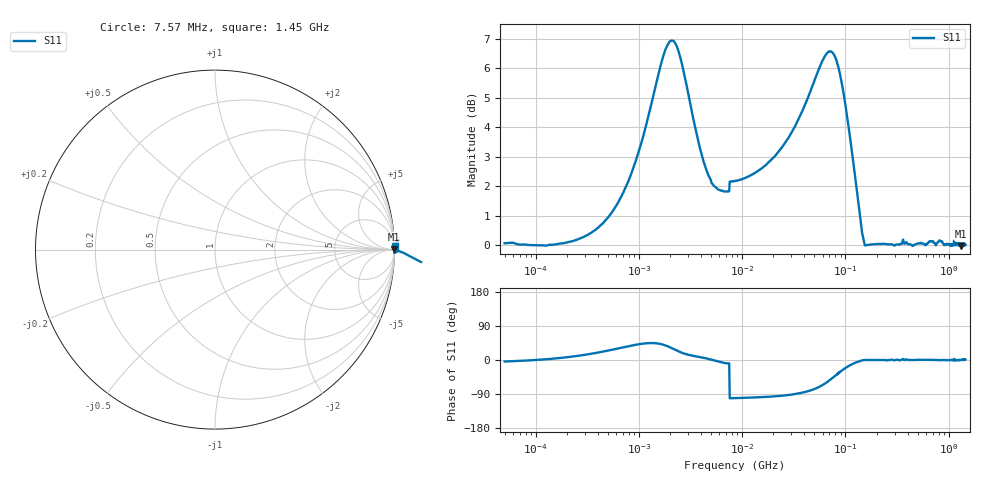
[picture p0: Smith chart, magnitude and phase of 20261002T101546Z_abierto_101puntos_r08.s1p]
! piloto_saltos / abierto_101puntos / r08
# HZ S RI R 50
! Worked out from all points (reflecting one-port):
!   501 points, 50 kHz to 1.45 GHz, reference 50 ohm
!   lowest |S11| = 0.0 dB at 1.324 GHz (marker M1), VSWR 712.84, Z = 1.71e+04 + j1.78e+04 ohm
!   phase of S11 starts at -4 deg and turns +5 deg over the sweep
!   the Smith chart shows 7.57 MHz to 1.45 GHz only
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50000  1.006 -0.0703
183000  1.003 0.1059
363500  1.009 0.3179
658000  1.022 0.6305
1180000  1.151 1.116
1630000  1.502 1.355
1990000  1.84 1.232
2440000  1.96 0.803
3340000  1.615 0.3183
4690000  1.314 0.0692
7300000  1.219 -0.1928
7750000  -0.2414 -1.261
8560000  -0.2336 -1.264
1.81e7  -0.168 -1.374
3.16e7  -0.0101 -1.577
4.69e7  0.3387 -1.813
5.68e7  0.6984 -1.884
6.49e7  1.045 -1.827
7.39e7  1.396 -1.598
8.65e7  1.673 -1.068
9.82e7  1.627 -0.6743
1e8  1.61 -0.6207
1.18e8  1.378 -0.2449
1.36e8  1.148 -0.0693
1.63e8  1.002 -0.000386
4.06e8  1.004 -0.000323
1.324e9  0.9972 0.00292
1.45e9  1.003 0.0176
